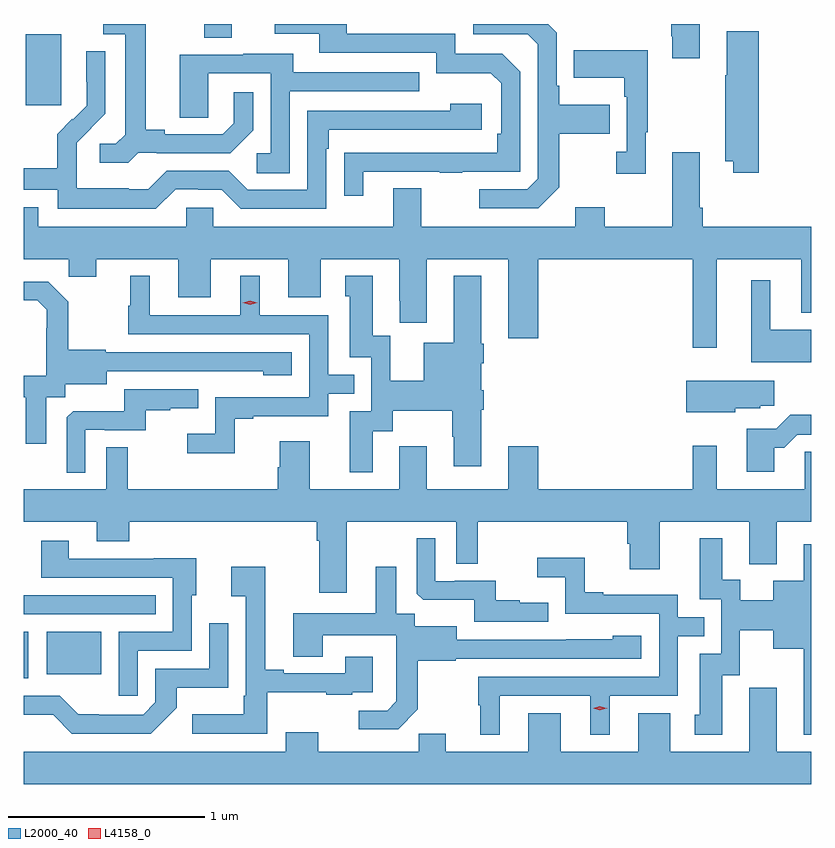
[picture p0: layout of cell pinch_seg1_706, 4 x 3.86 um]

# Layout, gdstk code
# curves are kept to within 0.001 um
import gdstk
lib = gdstk.Library(unit=1e-6, precision=1e-09)
def R(c, l, rs):  # rectangles x0, y0, x1, y1
    for r in rs: c.add(gdstk.rectangle(r[:2], r[2:], *l))
def P(c, l, *ps):  # polygons
    for p in ps: c.add(gdstk.Polygon(p, *l))
L2000_40 = (2000, 40)
L4158_0 = (4158, 0)

pinch_seg1_706 = lib.new_cell('pinch_seg1_706')
R(pinch_seg1_706, L2000_40, [(744.731,549.605,744.754,549.841), (744.848,549.626,745.126,549.841), (744.731,549.93,745.403,550.026), (744.743,552.513,744.922,552.874), (745.649,552.856,745.789,552.926)])
P(pinch_seg1_706, L2000_40, [(748.165,552.926),(748.018,552.926),(748.018,552.865),(748.025,552.865),(748.025,552.753),(748.165,552.753)],
  [(745.314,552.273),(745.408,552.273),(745.408,552.27),(745.78,552.27),(745.896,552.386),(745.896,552.58),(745.799,552.58),(745.799,552.423),(745.742,552.366),(745.447,552.366),(745.447,552.389),(745.351,552.389),(745.351,552.926),(745.137,552.926),(745.137,552.873),(745.247,552.873),(745.247,552.365),(745.2,552.318),(745.119,552.318),(745.119,552.221),(745.262,552.221)],
  [(747.451,552.097),(747.451,552.37),(747.707,552.37),(747.707,552.517),(747.451,552.517),(747.451,552.613),(747.438,552.613),(747.438,552.882),(747.394,552.926),(747.015,552.926),(747.015,552.873),(747.291,552.873),(747.342,552.822),(747.342,552.141),(747.288,552.087),(747.045,552.087),(747.045,551.991),(747.345,551.991)],
  [(746.455,552.177),(746.845,552.177),(746.845,552.172),(746.957,552.172),(746.957,552.177),(747.252,552.177),(747.252,552.684),(747.162,552.774),(746.922,552.774),(746.922,552.876),(746.371,552.876),(746.371,552.926),(746.007,552.926),(746.007,552.876),(746.231,552.876),(746.231,552.78),(746.826,552.78),(746.826,552.677),(747.103,552.677),(747.156,552.624),(747.156,552.37),(747.136,552.37),(747.136,552.273),(746.359,552.272),(746.359,552.054),(746.455,552.054)],
  [(748.464,552.889),(748.301,552.889),(748.301,552.665),(748.294,552.665),(748.294,552.23),(748.334,552.23),(748.334,552.171),(748.464,552.171)],
  [(747.889,552.377),(747.901,552.377),(747.901,552.793),(747.523,552.793),(747.523,552.653),(747.78,552.653),(747.78,552.557),(747.792,552.557),(747.792,552.278),(747.741,552.278),(747.741,552.165),(747.889,552.165)],
  [(745.503,552.087),(745.619,552.087),(745.619,552.084),(745.737,552.084),(745.833,551.988),(746.268,551.988),(746.268,552.293),(746.281,552.293),(746.281,552.39),(747.058,552.39),(747.058,552.52),(746.897,552.52),(746.897,552.486),(746.172,552.486),(746.172,552.084),(745.869,552.084),(745.773,552.18),(745.458,552.18),(745.365,552.087),(745.265,552.087),(745.265,552.091),(745.002,552.091),(745.002,552.225),(745,552.225),(745,552.322),(745.146,552.47),(745.146,552.788),(745.05,552.788),(745.05,552.634),(745.052,552.634),(745.052,552.512),(744.981,552.441),(744.978,552.444),(744.901,552.367),(744.901,552.193),(744.731,552.193),(744.731,552.084),(744.906,552.084),(744.906,551.987),(745.403,551.987)],
  [(746.082,552.585),(746.741,552.585),(746.741,552.681),(746.101,552.681),(746.101,552.775),(745.847,552.775),(745.847,552.771),(745.523,552.771),(745.523,552.451),(745.668,552.451),(745.668,552.675),(745.986,552.675),(745.986,552.27),(745.914,552.27),(745.914,552.169),(746.082,552.169)],
  [(747.533,551.995),(747.533,551.896),(746.749,551.896),(746.749,552.091),(746.609,552.091),(746.609,551.896),(745.695,551.896),(745.695,551.994),(745.557,551.994),(745.557,551.896),(744.805,551.896),(744.805,551.995),(744.731,551.995),(744.731,551.732),(744.961,551.732),(744.961,551.642),(745.099,551.642),(745.099,551.732),(745.517,551.732),(745.517,551.538),(745.681,551.538),(745.681,551.732),(746.075,551.732),(746.075,551.538),(746.239,551.538),(746.239,551.732),(746.639,551.732),(746.639,551.521),(746.64,551.521),(746.64,551.409),(746.779,551.409),(746.779,551.732),(747.191,551.732),(747.191,551.331),(747.344,551.331),(747.344,551.732),(748.128,551.732),(748.128,551.283),(748.249,551.283),(748.249,551.732),(748.679,551.732),(748.679,551.459),(748.731,551.459),(748.731,551.896),(748.178,551.896),(748.178,551.992),(748.165,551.992),(748.165,552.274),(748.025,552.274),(748.025,551.896),(747.681,551.896),(747.681,551.995)],
  [(745.803,550.923),(745.897,550.923),(745.897,550.935),(746.277,550.935),(746.277,551.049),(746.411,551.049),(746.411,551.145),(746.277,551.145),(746.277,551.448),(745.93,551.448),(745.93,551.647),(745.832,551.647),(745.832,551.448),(745.372,551.448),(745.372,551.647),(745.274,551.647),(745.274,551.496),(745.263,551.496),(745.263,551.352),(746.181,551.352),(746.181,551.031),(745.704,551.031),(745.704,550.846),(745.563,550.846),(745.563,550.748),(745.803,550.748)],
  [(746.503,550.858),(746.605,550.858),(746.605,550.964),(746.908,550.964),(746.908,550.83),(746.915,550.83),(746.915,550.68),(747.055,550.68),(747.055,550.968),(747.068,550.968),(747.068,551.068),(747.055,551.068),(747.055,551.204),(747.068,551.204),(747.068,551.304),(747.055,551.304),(747.055,551.647),(746.915,551.647),(746.915,551.308),(746.762,551.308),(746.762,551.116),(746.592,551.116),(746.592,551.343),(746.503,551.343),(746.503,551.647),(746.363,551.647),(746.363,551.544),(746.387,551.544),(746.387,551.235),(746.496,551.235),(746.496,550.959),(746.387,550.959),(746.387,550.65),(746.503,550.65)],
  [(748.731,551.374),(748.522,551.374),(748.522,551.626),(748.424,551.626),(748.424,551.21),(748.731,551.21)],
  [(744.847,551.032),(744.942,551.032),(744.942,551.096),(745.153,551.096),(745.153,551.163),(745.947,551.162),(745.947,551.144),(746.092,551.144),(746.092,551.259),(745.149,551.259),(745.149,551.272),(744.957,551.272),(744.957,551.517),(744.857,551.617),(744.731,551.617),(744.731,551.523),(744.801,551.523),(744.848,551.476),(744.848,551.381),(744.846,551.381),(744.846,551.14),(744.731,551.14),(744.731,551.03),(744.743,551.03),(744.743,550.794),(744.847,550.794)],
  [(748.344,550.976),(748.47,550.976),(748.47,550.987),(748.543,550.987),(748.543,551.116),(748.094,551.116),(748.094,550.955),(748.344,550.955)],
  [(745.044,550.866),(745.144,550.866),(745.144,550.863),(745.352,550.863),(745.352,550.965),(745.475,550.965),(745.475,550.976),(745.619,550.976),(745.619,551.073),(745.242,551.073),(745.242,550.961),(744.983,550.961),(744.951,550.929),(744.951,550.649),(745.044,550.649)],
  [(748.543,550.775),(748.592,550.775),(748.659,550.842),(748.731,550.842),(748.731,550.943),(748.622,550.943),(748.551,550.872),(748.403,550.872),(748.403,550.653),(748.543,550.653)],
  [(746.371,550.4),(746.928,550.4),(746.928,550.186),(747.037,550.186),(747.037,550.4),(747.797,550.4),(747.797,550.287),(747.809,550.287),(747.809,550.158),(747.961,550.158),(747.961,550.4),(748.415,550.4),(748.415,550.184),(748.555,550.184),(748.555,550.4),(748.731,550.4),(748.731,550.754),(748.698,550.754),(748.698,550.564),(748.249,550.564),(748.249,550.786),(748.128,550.786),(748.128,550.564),(747.344,550.564),(747.344,550.783),(747.191,550.783),(747.191,550.564),(746.779,550.564),(746.779,550.783),(746.639,550.783),(746.639,550.564),(746.185,550.564),(746.185,550.807),(746.033,550.807),(746.033,550.677),(746.021,550.677),(746.021,550.564),(745.261,550.564),(745.261,550.778),(745.152,550.778),(745.152,550.564),(744.731,550.564),(744.731,550.4),(745.103,550.4),(745.103,550.301),(745.267,550.301),(745.267,550.4),(746.219,550.4),(746.219,550.304),(746.231,550.304),(746.231,550.038),(746.371,550.038)],
  [(747.395,549.988),(747.251,549.988),(747.251,550),(747.128,550),(747.128,550.101),(746.92,550.101),(746.92,550.098),(746.82,550.098),(746.82,550.315),(746.727,550.315),(746.727,550.035),(746.759,550.004),(747.018,550.004),(747.018,549.891),(747.395,549.891)],
  [(748.731,550.285),(748.691,550.285),(748.691,550.099),(748.538,550.099),(748.538,550),(748.369,550),(748.369,550.106),(748.279,550.106),(748.279,550.315),(748.163,550.315),(748.163,550.005),(748.272,550.005),(748.272,549.729),(748.163,549.729),(748.163,549.42),(748.139,549.42),(748.139,549.318),(748.279,549.318),(748.279,549.621),(748.368,549.621),(748.368,549.848),(748.538,549.848),(748.538,549.755),(748.691,549.755),(748.691,549.317),(748.731,549.317)],
  [(745.311,549.744),(745.584,549.744),(745.584,550.026),(745.609,550.026),(745.609,550.214),(745.391,550.214),(745.391,550.212),(744.961,550.212),(744.961,550.303),(744.821,550.303),(744.821,550.116),(745.488,550.116),(745.488,549.84),(745.215,549.84),(745.215,549.516),(745.311,549.516)],
  [(747.148,549.516),(747.608,549.516),(747.608,549.317),(747.706,549.317),(747.706,549.516),(748.053,549.516),(748.053,549.819),(748.187,549.819),(748.187,549.915),(748.053,549.915),(748.053,550.029),(747.673,550.029),(747.673,550.042),(747.579,550.042),(747.579,550.217),(747.339,550.217),(747.339,550.118),(747.48,550.118),(747.48,549.933),(747.957,549.933),(747.957,549.612),(747.039,549.612),(747.039,549.468),(747.05,549.468),(747.05,549.317),(747.148,549.317)],
  [(745.969,549.533),(746.267,549.533),(746.267,549.522),(746.399,549.522),(746.399,549.534),(746.503,549.534),(746.503,549.715),(746.363,549.715),(746.363,549.63),(746.053,549.63),(746.053,549.649),(745.957,549.649),(745.957,550.171),(745.785,550.171),(745.785,550.022),(745.86,550.022),(745.86,549.517),(745.848,549.517),(745.848,549.421),(745.587,549.421),(745.587,549.324),(745.969,549.324)],
  [(746.733,549.447),(746.733,549.693),(746.925,549.693),(746.925,549.705),(747.868,549.705),(747.868,549.82),(747.723,549.82),(747.723,549.802),(746.929,549.801),(746.929,549.868),(746.718,549.868),(746.718,549.932),(746.623,549.932),(746.623,550.171),(746.519,550.171),(746.519,549.934),(746.099,549.934),(746.099,549.715),(746.251,549.715),(746.251,549.824),(746.622,549.824),(746.622,549.583),(746.624,549.583),(746.624,549.488),(746.577,549.441),(746.433,549.441),(746.433,549.347),(746.633,549.347)],
  [(745.509,549.455),(745.509,549.557),(745.77,549.557),(745.77,549.883),(745.674,549.883),(745.674,549.654),(745.401,549.654),(745.401,549.483),(745.338,549.42),(745.114,549.42),(745.114,549.422),(745.01,549.422),(744.915,549.516),(744.731,549.516),(744.731,549.419),(744.881,549.419),(744.975,549.324),(745.378,549.324)],
  [(748.731,549.232),(748.555,549.232),(748.555,549.556),(748.416,549.556),(748.416,549.443),(748.415,549.443),(748.415,549.232),(748.015,549.232),(748.015,549.427),(747.851,549.427),(747.851,549.232),(747.457,549.232),(747.457,549.427),(747.293,549.427),(747.293,549.232),(746.875,549.232),(746.875,549.323),(746.737,549.323),(746.737,549.232),(746.227,549.232),(746.227,549.331),(746.063,549.331),(746.063,549.232),(744.731,549.232),(744.731,549.068),(748.731,549.068)])
P(pinch_seg1_706, L4158_0, [(747.657,549.443),(747.622,549.453),(747.621,549.453),(747.622,549.453),(747.657,549.463),(747.692,549.453),(747.693,549.453),(747.692,549.453)],
  [(745.881,551.5),(745.845,551.51),(745.845,551.51),(745.845,551.51),(745.881,551.52),(745.917,551.51),(745.917,551.51),(745.917,551.51)])

lib.write_gds('pinch_seg1_706.gds')
